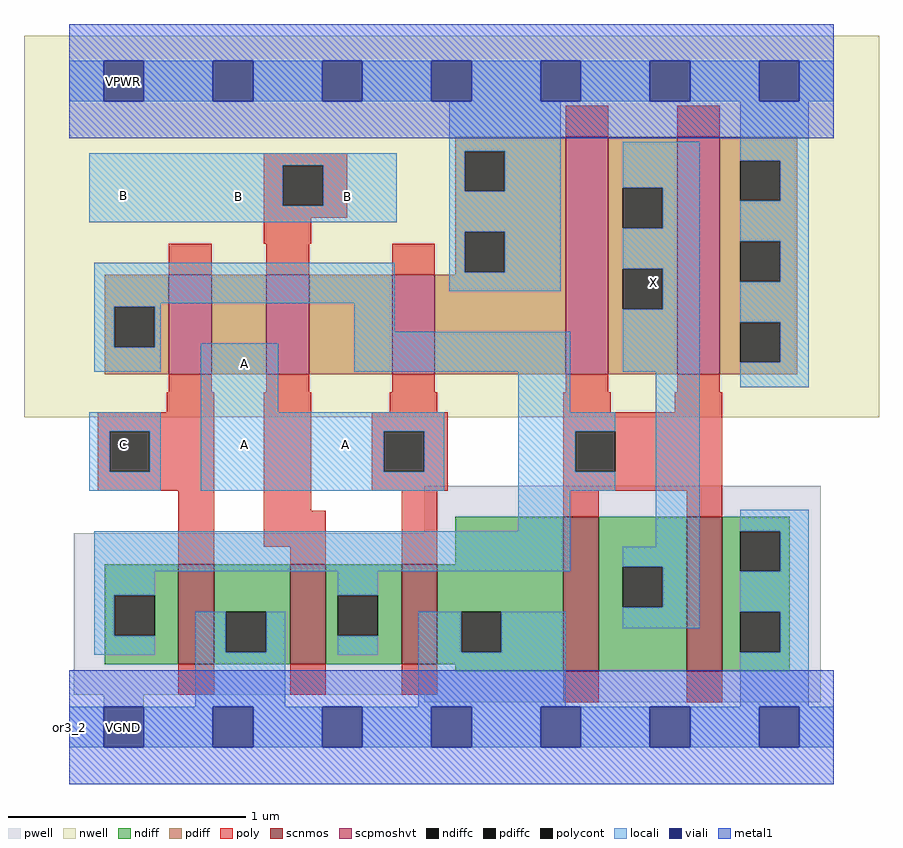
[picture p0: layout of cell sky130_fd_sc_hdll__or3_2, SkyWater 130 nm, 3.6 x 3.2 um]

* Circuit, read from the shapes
.subckt sky130_fd_sc_hdll__or3_2 A B C VGND VNB VPB VPWR X
XM1 VGND C n1 VNB sky130_fd_pr__nfet_01v8 w=0.42 l=0.15
XM2 n1 B VGND VNB sky130_fd_pr__nfet_01v8 w=0.42 l=0.15
XM3 VGND A n1 VNB sky130_fd_pr__nfet_01v8 w=0.42 l=0.15
XM4 X n1 VGND VNB sky130_fd_pr__nfet_01v8 w=0.65 l=0.15 m=2
XM5 n2 C n1 VPB sky130_fd_pr__pfet_01v8_hvt w=0.42 l=0.18
XM6 n3 B n2 VPB sky130_fd_pr__pfet_01v8_hvt w=0.42 l=0.18
XM7 VPWR A n3 VPB sky130_fd_pr__pfet_01v8_hvt w=0.42 l=0.18
XM8 X n1 VPWR VPB sky130_fd_pr__pfet_01v8_hvt w=1 l=0.18 m=2
.ends

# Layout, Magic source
magic
tech sky130A
magscale 1 2
<< nwell >>
rect -38 261 682 582
<< pwell >>
rect 299 163 633 203
rect 4 27 633 163
rect 29 -17 63 27
rect 299 21 633 27
<< scnmos >>
rect 92 53 122 137
rect 186 53 216 137
rect 280 53 310 137
rect 416 47 446 177
rect 520 47 550 177
<< scpmoshvt >>
rect 84 297 120 381
rect 166 297 202 381
rect 272 297 308 381
rect 418 297 454 497
rect 512 297 548 497
<< ndiff >>
rect 325 137 416 177
rect 30 111 92 137
rect 30 77 38 111
rect 72 77 92 111
rect 30 53 92 77
rect 122 97 186 137
rect 122 63 132 97
rect 166 63 186 97
rect 122 53 186 63
rect 216 111 280 137
rect 216 77 226 111
rect 260 77 280 111
rect 216 53 280 77
rect 310 97 416 137
rect 310 63 330 97
rect 364 63 416 97
rect 310 53 416 63
rect 325 47 416 53
rect 446 135 520 177
rect 446 101 466 135
rect 500 101 520 135
rect 446 47 520 101
rect 550 165 607 177
rect 550 131 565 165
rect 599 131 607 165
rect 550 97 607 131
rect 550 63 565 97
rect 599 63 607 97
rect 550 47 607 63
<< pdiff >>
rect 325 485 418 497
rect 325 451 333 485
rect 367 451 418 485
rect 325 417 418 451
rect 325 383 333 417
rect 367 383 418 417
rect 325 381 418 383
rect 30 354 84 381
rect 30 320 38 354
rect 72 320 84 354
rect 30 297 84 320
rect 120 297 166 381
rect 202 297 272 381
rect 308 297 418 381
rect 454 454 512 497
rect 454 420 466 454
rect 500 420 512 454
rect 454 386 512 420
rect 454 352 466 386
rect 500 352 512 386
rect 454 297 512 352
rect 548 477 613 497
rect 548 443 565 477
rect 599 443 613 477
rect 548 409 613 443
rect 548 375 565 409
rect 599 375 613 409
rect 548 341 613 375
rect 548 307 565 341
rect 599 307 613 341
rect 548 297 613 307
<< ndiffc >>
rect 38 77 72 111
rect 132 63 166 97
rect 226 77 260 111
rect 330 63 364 97
rect 466 101 500 135
rect 565 131 599 165
rect 565 63 599 97
<< pdiffc >>
rect 333 451 367 485
rect 333 383 367 417
rect 38 320 72 354
rect 466 420 500 454
rect 466 352 500 386
rect 565 443 599 477
rect 565 375 599 409
rect 565 307 599 341
<< poly >>
rect 418 497 454 523
rect 512 497 548 523
rect 164 473 234 483
rect 164 439 180 473
rect 214 439 234 473
rect 164 429 234 439
rect 164 407 204 429
rect 84 381 120 407
rect 166 381 202 407
rect 272 381 308 407
rect 84 282 120 297
rect 166 282 202 297
rect 272 282 308 297
rect 418 282 454 297
rect 512 282 548 297
rect 82 265 122 282
rect 24 249 122 265
rect 24 215 34 249
rect 68 215 122 249
rect 24 199 122 215
rect 92 137 122 199
rect 164 182 204 282
rect 270 265 310 282
rect 416 265 456 282
rect 510 265 550 282
rect 255 249 319 265
rect 255 215 265 249
rect 299 215 319 249
rect 255 199 319 215
rect 416 249 550 265
rect 416 215 426 249
rect 460 215 550 249
rect 416 199 550 215
rect 164 152 216 182
rect 186 137 216 152
rect 280 137 310 199
rect 416 177 446 199
rect 520 177 550 199
rect 92 27 122 53
rect 186 27 216 53
rect 280 27 310 53
rect 416 21 446 47
rect 520 21 550 47
<< polycont >>
rect 180 439 214 473
rect 34 215 68 249
rect 265 215 299 249
rect 426 215 460 249
<< locali >>
rect 0 527 29 561
rect 63 527 121 561
rect 155 527 213 561
rect 247 527 305 561
rect 339 527 397 561
rect 431 527 489 561
rect 523 527 581 561
rect 615 527 644 561
rect 320 485 414 527
rect 17 473 276 483
rect 17 439 180 473
rect 214 439 276 473
rect 17 425 276 439
rect 320 451 333 485
rect 367 451 414 485
rect 320 417 414 451
rect 21 357 274 391
rect 320 383 333 417
rect 367 383 414 417
rect 320 367 414 383
rect 466 454 531 493
rect 500 420 531 454
rect 466 386 531 420
rect 21 354 77 357
rect 21 320 38 354
rect 72 320 77 354
rect 240 333 274 357
rect 500 352 531 386
rect 21 299 77 320
rect 111 265 176 323
rect 240 299 422 333
rect 466 299 531 352
rect 378 265 422 299
rect 17 249 77 265
rect 17 215 34 249
rect 68 215 77 249
rect 17 199 77 215
rect 111 249 316 265
rect 111 215 265 249
rect 299 215 316 249
rect 111 199 316 215
rect 378 249 460 265
rect 378 215 426 249
rect 378 199 460 215
rect 378 165 422 199
rect 21 131 422 165
rect 494 152 531 299
rect 565 477 623 527
rect 599 443 623 477
rect 565 409 623 443
rect 599 375 623 409
rect 565 341 623 375
rect 599 307 623 341
rect 565 286 623 307
rect 466 135 531 152
rect 21 111 72 131
rect 21 77 38 111
rect 226 111 260 131
rect 21 61 72 77
rect 106 63 132 97
rect 166 63 182 97
rect 106 17 182 63
rect 500 101 531 135
rect 226 61 260 77
rect 294 63 330 97
rect 364 63 418 97
rect 466 83 531 101
rect 565 165 623 183
rect 599 131 623 165
rect 565 97 623 131
rect 294 17 418 63
rect 599 63 623 97
rect 565 17 623 63
rect 0 -17 29 17
rect 63 -17 121 17
rect 155 -17 213 17
rect 247 -17 305 17
rect 339 -17 397 17
rect 431 -17 489 17
rect 523 -17 581 17
rect 615 -17 644 17
<< viali >>
rect 29 527 63 561
rect 121 527 155 561
rect 213 527 247 561
rect 305 527 339 561
rect 397 527 431 561
rect 489 527 523 561
rect 581 527 615 561
rect 29 -17 63 17
rect 121 -17 155 17
rect 213 -17 247 17
rect 305 -17 339 17
rect 397 -17 431 17
rect 489 -17 523 17
rect 581 -17 615 17
<< metal1 >>
rect 0 561 644 592
rect 0 527 29 561
rect 63 527 121 561
rect 155 527 213 561
rect 247 527 305 561
rect 339 527 397 561
rect 431 527 489 561
rect 523 527 581 561
rect 615 527 644 561
rect 0 496 644 527
rect 0 17 644 48
rect 0 -17 29 17
rect 63 -17 121 17
rect 155 -17 213 17
rect 247 -17 305 17
rect 339 -17 397 17
rect 431 -17 489 17
rect 523 -17 581 17
rect 615 -17 644 17
rect 0 -48 644 -17
<< labels >>
flabel locali s 131 221 165 255 0 FreeSans 400 0 0 0 A
port 1 nsew signal input
flabel locali s 216 221 250 255 0 FreeSans 400 0 0 0 A
port 1 nsew signal input
flabel locali s 29 431 63 465 0 FreeSans 400 0 0 0 B
port 2 nsew signal input
flabel locali s 475 357 509 391 0 FreeSans 200 0 0 0 X
port 8 nsew signal output
flabel locali s 131 289 165 323 0 FreeSans 400 0 0 0 A
port 1 nsew signal input
flabel locali s 126 430 160 464 0 FreeSans 400 0 0 0 B
port 2 nsew signal input
flabel locali s 29 221 63 255 0 FreeSans 400 0 0 0 C
port 3 nsew signal input
flabel locali s 217 430 251 464 0 FreeSans 400 0 0 0 B
port 2 nsew signal input
flabel metal1 s 29 -17 63 17 0 FreeSans 200 0 0 0 VGND
port 4 nsew ground bidirectional
flabel metal1 s 29 527 63 561 0 FreeSans 200 0 0 0 VPWR
port 7 nsew power bidirectional
flabel nwell s 29 527 63 561 0 FreeSans 200 0 0 0 VPB
port 6 nsew power bidirectional
flabel pwell s 29 -17 63 17 0 FreeSans 200 0 0 0 VNB
port 5 nsew ground bidirectional
rlabel comment s 0 0 0 0 4 or3_2
<< properties >>
string LEFsite unithd
string LEFclass CORE
string FIXED_BBOX 0 0 644 544
string GDS_FILE $PDKPATH/libs.ref/sky130_fd_sc_hdll/gds/sky130_fd_sc_hdll.gds
string LEFsymmetry X Y R90
string GDS_END 1478068
string GDS_START 1472024
string LEFproperties maskLayoutSubType "abstract" prCellType "standard" originalViewName "layout"
<< end >>
